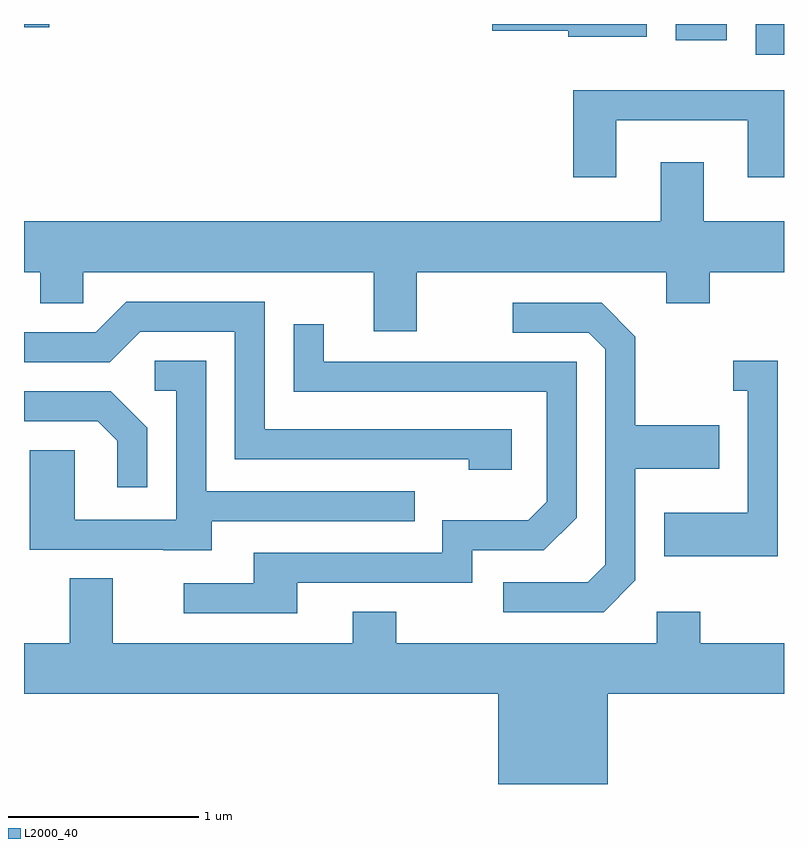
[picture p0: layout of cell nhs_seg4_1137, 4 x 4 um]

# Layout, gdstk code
import gdstk
lib = gdstk.Library(unit=1e-6, precision=1e-09)
def R(c, l, rs):  # rectangles x0, y0, x1, y1
    for r in rs: c.add(gdstk.rectangle(r[:2], r[2:], *l))
def P(c, l, *ps):  # polygons
    for p in ps: c.add(gdstk.Polygon(p, *l))
L2000_40 = (2000, 40)

nhs_seg4_1137 = lib.new_cell('nhs_seg4_1137')
R(nhs_seg4_1137, L2000_40, [(221.461,1355.821,221.611,1355.982), (221.041,1355.896,221.309,1355.982), (217.611,1355.966,217.744,1355.982)])
P(nhs_seg4_1137, L2000_40, [(220.889,1355.982),(220.076,1355.982),(220.076,1355.946),(220.476,1355.946),(220.476,1355.916),(220.889,1355.916)],
  [(220.729,1355.476),(221.421,1355.476),(221.421,1355.176),(221.611,1355.176),(221.611,1355.634),(220.501,1355.634),(220.501,1355.176),(220.729,1355.176)],
  [(219.679,1354.676),(220.991,1354.676),(220.991,1354.511),(221.219,1354.511),(221.219,1354.676),(221.611,1354.676),(221.611,1354.944),(221.189,1354.944),(221.189,1355.254),(220.961,1355.254),(220.961,1354.944),(217.611,1354.944),(217.611,1354.676),(217.696,1354.676),(217.696,1354.511),(217.924,1354.511),(217.924,1354.676),(219.451,1354.676),(219.451,1354.366),(219.679,1354.366)],
  [(220.179,1353.849),(218.879,1353.849),(218.879,1354.519),(218.149,1354.519),(217.989,1354.359),(217.611,1354.359),(217.611,1354.201),(218.062,1354.201),(218.222,1354.361),(218.721,1354.361),(218.721,1353.691),(219.951,1353.691),(219.951,1353.636),(220.179,1353.636)],
  [(220.829,1353.054),(220.829,1353.641),(221.269,1353.641),(221.269,1353.869),(220.829,1353.869),(220.829,1354.337),(220.652,1354.514),(220.183,1354.514),(220.183,1354.356),(220.584,1354.356),(220.671,1354.269),(220.671,1353.137),(220.579,1353.044),(220.133,1353.044),(220.133,1352.886),(220.662,1352.886)],
  [(219.049,1353.041),(219.969,1353.041),(219.969,1353.211),(220.347,1353.211),(220.519,1353.384),(220.519,1354.204),(219.189,1354.204),(219.189,1354.403),(219.031,1354.403),(219.031,1354.046),(220.361,1354.046),(220.361,1353.467),(220.264,1353.369),(219.811,1353.369),(219.811,1353.199),(218.821,1353.199),(218.821,1353.039),(218.453,1353.039),(218.453,1352.881),(219.049,1352.881)],
  [(221.579,1354.209),(221.343,1354.209),(221.343,1354.051),(221.421,1354.051),(221.421,1353.409),(220.981,1353.409),(220.981,1353.181),(221.579,1353.181)],
  [(218.599,1353.366),(219.668,1353.366),(219.668,1353.524),(218.569,1353.524),(218.569,1354.209),(218.298,1354.209),(218.298,1354.051),(218.411,1354.051),(218.411,1353.374),(217.879,1353.374),(217.879,1353.739),(217.641,1353.739),(217.641,1353.216),(218.345,1353.216),(218.345,1353.211),(218.599,1353.211)],
  [(218.259,1353.857),(218.067,1354.049),(217.611,1354.049),(217.611,1353.891),(217.999,1353.891),(218.101,1353.789),(218.101,1353.543),(218.259,1353.543)],
  [(220.684,1352.456),(221.611,1352.456),(221.611,1352.724),(221.169,1352.724),(221.169,1352.889),(220.941,1352.889),(220.941,1352.724),(219.569,1352.724),(219.569,1352.889),(219.341,1352.889),(219.341,1352.724),(218.079,1352.724),(218.079,1353.064),(217.851,1353.064),(217.851,1352.724),(217.611,1352.724),(217.611,1352.456),(220.106,1352.456),(220.106,1351.982),(220.684,1351.982)])

lib.write_gds('nhs_seg4_1137.gds')
